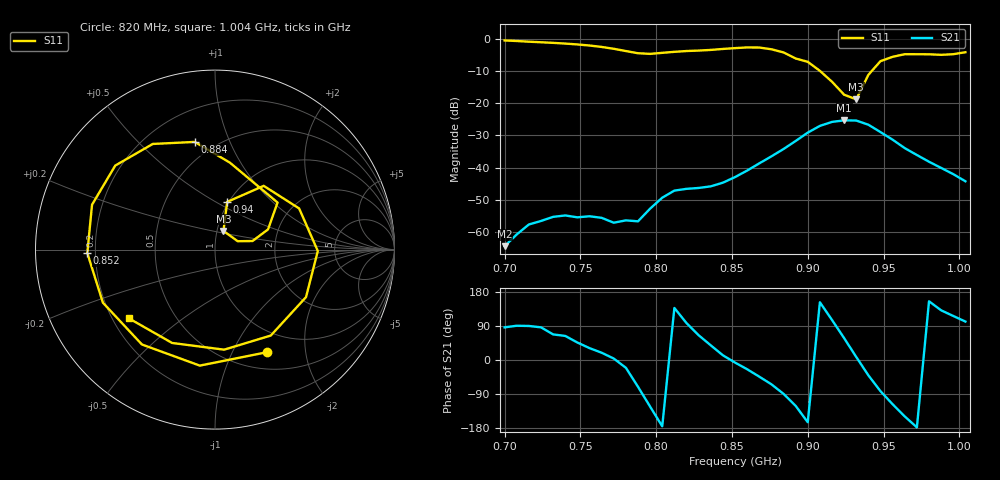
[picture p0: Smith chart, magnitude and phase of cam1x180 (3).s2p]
# Hz S RI R 50
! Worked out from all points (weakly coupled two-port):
!   39 points, 700 MHz to 1.004 GHz, reference 50 ohm
!   highest |S21| = -25.37 dB at 924 MHz (marker M1); lowest = -64.4 dB at 700 MHz (marker M2)
!   lowest |S11| = -18.8 dB at 932 MHz (marker M3), VSWR 1.26, Z = 53.7 + j11.3 ohm
!   |S11| at or under -10 dB: 908 MHz to 942.3 MHz (34.34 MHz wide, 3.71 % of centre)
!   S12 and S22 are empty: the file has one direction only
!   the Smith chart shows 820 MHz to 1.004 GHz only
!   S11 on the Smith chart (normalised r, x): 820 MHz: 0.71, -1.38; 852 MHz: 0.17, -0.01; 884 MHz: 0.39, +0.75; 940 MHz: 0.98, +0.57; 1.004 GHz: 0.27, -0.33
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7e8  0.7563 0.5508  4.02e-05 0.000602  0 0  0 0
7.24e8  0.8413 -0.249  9.84e-05 0.00148  0 0  0 0
7.4e8  0.4557 -0.7021  0.000805 0.00162  0 0  0 0
7.56e8  -0.1903 -0.7578  0.0015 0.000913  0 0  0 0
7.72e8  -0.6643 -0.2035  0.00139 9.38e-05  0 0  0 0
7.8e8  -0.6018 0.2208  0.00142 -0.00053  0 0  0 0
7.96e8  0.2275 0.5327  -0.00126 -0.00193  0 0  0 0
8.04e8  0.5686 0.1956  -0.0034 -0.0003  0 0  0 0
8.2e8  0.2919 -0.5712  -0.000606 0.00463  0 0  0 0
8.36e8  -0.4072 -0.5286  0.00398 0.0032  0 0  0 0
8.52e8  -0.7114 -0.0196  0.00706 -0.000834  0 0  0 0
8.68e8  -0.5557 0.4683  0.00836 -0.00805  0 0  0 0
8.84e8  -0.1125 0.5999  0.000275 -0.0194  0 0  0 0
9e8  0.3485 0.2623  -0.0335 -0.00946  0 0  0 0
9.08e8  0.2955 0.1126  -0.0392 0.0205  0 0  0 0
9.24e8  0.1263 0.0467  0.0288 0.0456  0 0  0 0
9.32e8  0.0472 0.104  0.0531 0.0074  0 0  0 0
9.4e8  0.0677 0.2656  0.0351 -0.03  0 0  0 0
9.56e8  0.4687 0.2294  -0.0122 -0.0241  0 0  0 0
9.64e8  0.5728 -0.00781  -0.0171 -0.0103  0 0  0 0
9.8e8  0.3108 -0.4788  -0.0111 0.00522  0 0  0 0
1.004e9  -0.4805 -0.3827  -0.00121 0.006  0 0  0 0
